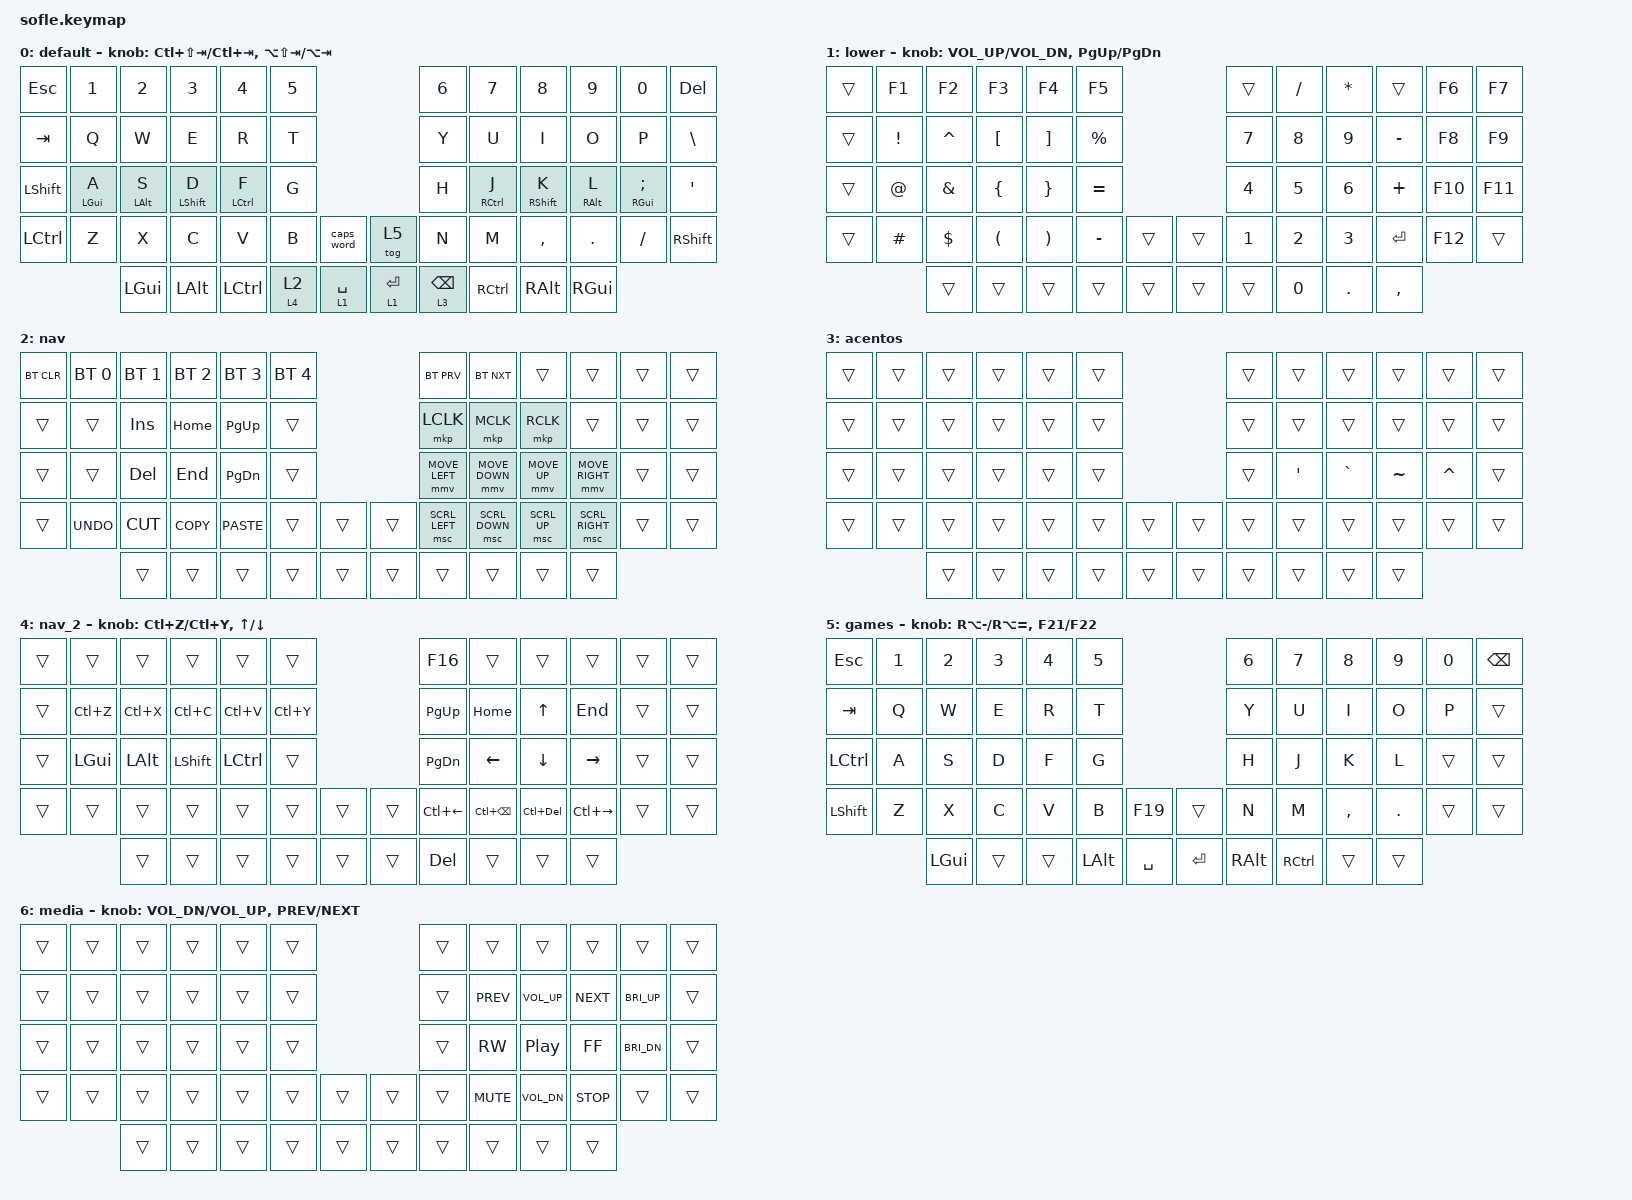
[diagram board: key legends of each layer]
/*
 * Copyright (c) 2020 The ZMK Contributors
 *
 * SPDX-License-Identifier: MIT
 */

#include <behaviors.dtsi>
#include <dt-bindings/zmk/bt.h>
#include <dt-bindings/zmk/keys.h>
#include <dt-bindings/zmk/pointing.h>

#define BASE 0
#define LOWER 1
#define RAISE 2
#define ADJUST 3
#define NAV2 4
#define GAMES 5
#define MEDIA 6

&mmv { time-to-max-speed-ms = <150>; };

/ {
    // Activate ADJUST layer by pressing raise and lower

    conditional_layers {
        compatible = "zmk,conditional-layers";

        media_layer {
            if-layers = <LOWER ADJUST>;
            then-layer = <MEDIA>;
        };
    };

    behaviors {
        quick_tap_layer: quick_tap_layer {
            compatible = "zmk,behavior-hold-tap";
            label = "QUICK_TAP_LAYER";
            bindings = <&mo>, <&kp>;

            #binding-cells = <2>;
            quick-tap-ms = <190>;
            tapping-term-ms = <200>;
        };

        mom_layers: mom_layers {
            compatible = "zmk,behavior-hold-tap";
            label = "MOM_LAYERS";
            bindings = <&mo>, <&mo>;

            #binding-cells = <2>;
            quick-tap-ms = <190>;
            tapping-term-ms = <200>;
        };

        sequencia: sequencia {
            compatible = "zmk,behavior-tap-dance";
            label = "SEQUENCIA";
            #binding-cells = <0>;
            bindings = <&kp A>, <&kp B>, <&kp C>;
        };

        hml: homerow_left {
            compatible = "zmk,behavior-hold-tap";
            label = "HML";
            bindings = <&kp>, <&kp>;

            #binding-cells = <2>;
            tapping-term-ms = <280>;
            hold-trigger-key-positions = <6 7 8 9 10 11 18 19 20 21 22 23 30 31 32 33 34 35 43 44 45 46 47 48 49 55 56 57 58 59>;
            flavor = "balanced";
            require-prior-idle-ms = <150>;
            quick-tap-ms = <200>;
            hold-trigger-on-release;
        };

        hmr: homerow_right {
            compatible = "zmk,behavior-hold-tap";
            label = "HMR";
            bindings = <&kp>, <&kp>;

            #binding-cells = <2>;
            tapping-term-ms = <280>;
            hold-trigger-key-positions = <0 1 2 3 4 5 12 13 14 15 16 17 24 25 26 27 28 29 36 37 38 39 40 41 42 50 51 52 53 54>;
            quick-tap-ms = <200>;
            require-prior-idle-ms = <150>;
            flavor = "balanced";
            hold-trigger-on-release;
        };
    };

    macros {
        teste: teste {
            compatible = "zmk,behavior-macro";
            #binding-cells = <0>;
            bindings = <&kp T &kp E &kp S &kp T &kp E>;
            label = "TESTE";
        };
    };

    combos {
        compatible = "zmk,combos";

        agudo {
            bindings = <&kp SINGLE_QUOTE>;
            key-positions = <31 32>;
        };

        grave {
            bindings = <&kp GRAVE>;
            key-positions = <30 31>;
        };

        til {
            bindings = <&kp TILDE>;
            key-positions = <32 33>;
        };

        circun {
            bindings = <&kp CARET>;
            key-positions = <19 20>;
        };
    };

    keymap {
        compatible = "zmk,keymap";

        default_layer {
            display-name = "default";

            // ------------------------------------------------------------------------------------------------------------
            // |   `   |  1  |  2  |  3   |  4   |  5   |                   |  6   |  7    |  8    |  9   |   0   |       |
            // |  ESC  |  Q  |  W  |  E   |  R   |  T   |                   |  Y   |  U    |  I    |  O   |   P   | BKSPC |
            // |  TAB  |  A  |  S  |  D   |  F   |  G   |                   |  H   |  J    |  K    |  L   |   ;   |   '   |
            // | SHIFT |  Z  |  X  |  C   |  V   |  B   |  MUTE  |  |       |  N   |  M    |  ,    |  .   |   /   | SHIFT |
            //               | GUI | ALT  | CTRL | LOWER|  ENTER |  | SPACE | RAISE| CTRL  | ALT   | GUI  |

            bindings = <
&kp ESCAPE      &kp N1           &kp N2           &kp N3             &kp N4        &kp N5                                     &kp N6                        &kp N7        &kp N8              &kp N9            &kp N0                    &kp DEL
&kp TAB         &kp Q            &kp W            &kp E              &kp R         &kp T                                      &kp Y                         &kp U         &kp I               &kp O             &kp P                     &kp BACKSLASH
&kp LEFT_SHIFT  &hml LEFT_GUI A  &hml LEFT_ALT S  &hml LEFT_SHIFT D  &hml LCTRL F  &kp G                                      &kp H                         &hmr RCTRL J  &hmr RIGHT_SHIFT K  &hmr RIGHT_ALT L  &hmr RIGHT_GUI SEMICOLON  &kp SQT
&kp LCTRL       &kp Z            &kp X            &kp C              &kp V         &kp B            &caps_word     &tog 5     &kp N                         &kp M         &kp COMMA           &kp DOT           &kp FSLH                  &kp RSHFT
                                 &kp LGUI         &kp LALT           &kp LCTRL     &mom_layers 4 2  &lt 1 SPACE    &lt 1 RET  &quick_tap_layer 3 BACKSPACE  &kp RCTRL     &kp RALT            &kp RGUI
            >;

            sensor-bindings =
                <&inc_dec_kp LC(LS(TAB)) LC(TAB)>,
                <&inc_dec_kp LA(LS(TAB)) LA(TAB)>;
        };

        lower_layer {
            display-name = "lower";

            // TODO: Some binds are waiting for shifted keycode support.
            // ------------------------------------------------------------------------------------------------------------
            // |       |  F1 |  F2 |  F3  |  F4  |  F5  |                   |  F6  |  F7   |  F8   |  F9  |  F10  |  F11  |
            // |   `   |  1  |  2  |  3   |  4   |  5   |                   |  6   |  7    |  8    |  9   |   0   |  F12  |
            // |       |  !  |  @  |  #   |  $   |  %   |                   |  ^   |  &    |  *    |  (   |   )   |   |   |
            // |       |  =  |  -  |  +   |  {   |  }   |        |  |       |  [   |  ]    |  ;    |  :   |   \   |       |
            //               |     |      |      |      |        |  |       |      |       |       |      |

            bindings = <
&trans  &kp F1    &kp F2      &kp F3            &kp F4             &kp F5                       &trans  &kp FSLH  &kp STAR  &trans     &kp F6   &kp F7
&trans  &kp EXCL  &kp CARET   &kp LEFT_BRACKET  &kp RIGHT_BRACKET  &kp PRCNT                    &kp N7  &kp N8    &kp N9    &kp MINUS  &kp F8   &kp F9
&trans  &kp AT    &kp AMPS    &kp LEFT_BRACE    &kp RIGHT_BRACE    &kp EQUAL                    &kp N4  &kp N5    &kp N6    &kp PLUS   &kp F10  &kp F11
&trans  &kp HASH  &kp DOLLAR  &kp LPAR          &kp RPAR           &kp MINUS  &trans    &trans  &kp N1  &kp N2    &kp N3    &kp RET    &kp F12  &trans
                  &trans      &trans            &trans             &trans     &trans    &trans  &trans  &kp N0    &kp DOT   &kp COMMA
            >;

            sensor-bindings = <&inc_dec_kp C_VOL_UP C_VOL_DN &inc_dec_kp PG_UP PG_DN>;
        };

        nav {
            bindings = <
&bt BT_CLR  &bt BT_SEL 0  &bt BT_SEL 1  &bt BT_SEL 2  &bt BT_SEL 3  &bt BT_SEL 4                    &bt BT_PRV      &bt BT_NXT      &trans        &trans           &trans  &trans
&trans      &trans        &kp INSERT    &kp HOME      &kp PG_UP     &trans                          &mkp LCLK       &mkp MCLK       &mkp RCLK     &trans           &trans  &trans
&trans      &trans        &kp DEL       &kp END       &kp PG_DN     &trans                          &mmv MOVE_LEFT  &mmv MOVE_DOWN  &mmv MOVE_UP  &mmv MOVE_RIGHT  &trans  &trans
&trans      &kp K_UNDO    &kp K_CUT     &kp K_COPY    &kp K_PASTE   &trans        &trans    &trans  &msc SCRL_LEFT  &msc SCRL_DOWN  &msc SCRL_UP  &msc SCRL_RIGHT  &trans  &trans
                          &trans        &trans        &trans        &trans        &trans    &trans  &trans          &trans          &trans        &trans
            >;
        };

        acentos {
            bindings = <
&trans  &trans  &trans  &trans  &trans  &trans                    &trans  &trans            &trans     &trans     &trans     &trans
&trans  &trans  &trans  &trans  &trans  &trans                    &trans  &trans            &trans     &trans     &trans     &trans
&trans  &trans  &trans  &trans  &trans  &trans                    &trans  &kp SINGLE_QUOTE  &kp GRAVE  &kp TILDE  &kp CARET  &trans
&trans  &trans  &trans  &trans  &trans  &trans  &trans    &trans  &trans  &trans            &trans     &trans     &trans     &trans
                &trans  &trans  &trans  &trans  &trans    &trans  &trans  &trans            &trans     &trans
            >;
        };

        nav_2 {
            display-name = "nav_2";
            bindings = <
&trans  &trans     &trans     &trans     &trans     &trans                       &kp F16       &trans        &trans       &trans         &trans  &trans
&trans  &kp LC(Z)  &kp LC(X)  &kp LC(C)  &kp LC(V)  &kp LC(Y)                    &kp PG_UP     &kp HOME      &kp UP       &kp END        &trans  &trans
&trans  &kp LGUI   &kp LALT   &kp LSHFT  &kp LCTRL  &trans                       &kp PG_DN     &kp LEFT      &kp DOWN     &kp RIGHT      &trans  &trans
&trans  &trans     &trans     &trans     &trans     &trans     &trans    &trans  &kp LC(LEFT)  &kp LC(BSPC)  &kp LC(DEL)  &kp LC(RIGHT)  &trans  &trans
                   &trans     &trans     &trans     &trans     &trans    &trans  &kp DEL       &trans        &trans       &trans
            >;

            sensor-bindings = <&inc_dec_kp LC(Z) LC(Y)>, <&inc_dec_kp UP DOWN>;
        };

        games {
            bindings = <
&kp ESC         &kp N1  &kp N2    &kp N3  &kp N4  &kp N5                            &kp N6    &kp N7     &kp N8     &kp N9   &kp N0  &kp BSPC
&kp TAB         &kp Q   &kp W     &kp E   &kp R   &kp T                             &kp Y     &kp U      &kp I      &kp O    &kp P   &trans
&kp LCTRL       &kp A   &kp S     &kp D   &kp F   &kp G                             &kp H     &kp J      &kp K      &kp L    &trans  &trans
&kp LEFT_SHIFT  &kp Z   &kp X     &kp C   &kp V   &kp B     &kp F19      &trans     &kp N     &kp M      &kp COMMA  &kp DOT  &trans  &trans
                        &kp LGUI  &trans  &trans  &kp LALT  &kp SPACE    &kp ENTER  &kp RALT  &kp RCTRL  &trans     &trans
            >;

            sensor-bindings =
                <&inc_dec_kp RA(MINUS) RA(EQUAL)>,
                <&inc_dec_kp F21 F22>;
        };

        media {
            display-name = "media";

            // Activated by holding LOWER (SPACE) + ACENTOS (BACKSPACE) simultaneously
            // Left hand: free | Right hand: media controls
            //               | PREV  | VOL+  | NEXT  | BRI+  |
            //               |  <<   |  PP   |  >>   | BRI-  |
            //               | MUTE  | VOL-  | STOP  |       |

            bindings = <
&trans  &trans  &trans  &trans  &trans  &trans                    &trans  &trans      &trans        &trans      &trans        &trans
&trans  &trans  &trans  &trans  &trans  &trans                    &trans  &kp C_PREV  &kp C_VOL_UP  &kp C_NEXT  &kp C_BRI_UP  &trans
&trans  &trans  &trans  &trans  &trans  &trans                    &trans  &kp C_RW    &kp C_PP      &kp C_FF    &kp C_BRI_DN  &trans
&trans  &trans  &trans  &trans  &trans  &trans  &trans    &trans  &trans  &kp C_MUTE  &kp C_VOL_DN  &kp C_STOP  &trans        &trans
                &trans  &trans  &trans  &trans  &trans    &trans  &trans  &trans      &trans        &trans
            >;

            sensor-bindings =
                <&inc_dec_kp C_VOL_DN C_VOL_UP>,
                <&inc_dec_kp C_PREV C_NEXT>;
        };
    };
};
